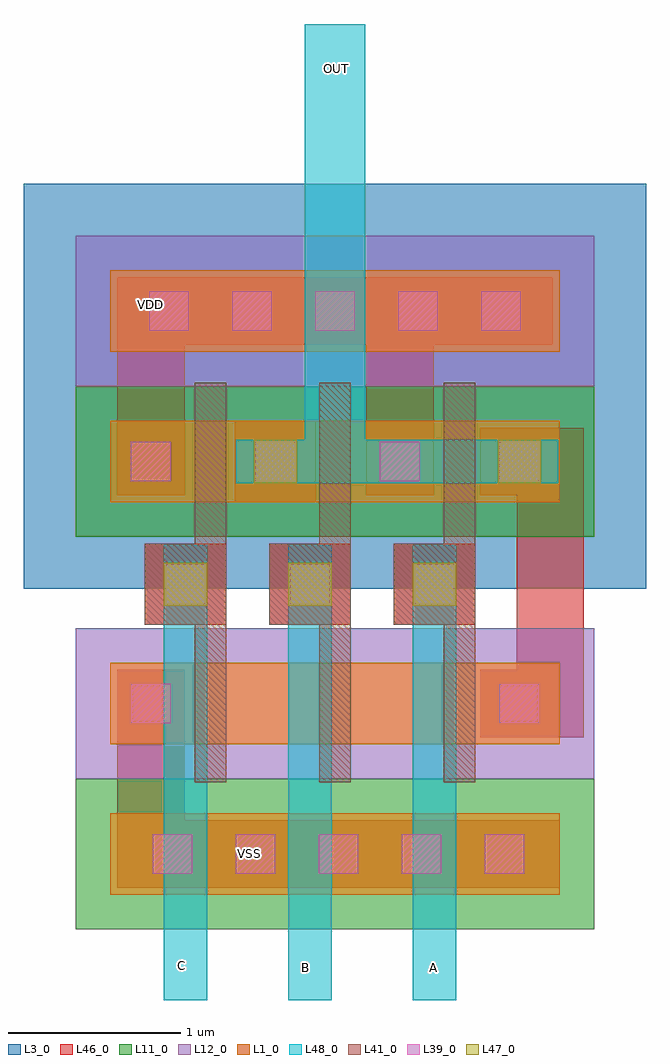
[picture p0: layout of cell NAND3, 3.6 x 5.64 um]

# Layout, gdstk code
import gdstk
lib = gdstk.Library(unit=1e-6, precision=1e-09)
def R(c, l, rs):  # rectangles x0, y0, x1, y1
    for r in rs: c.add(gdstk.rectangle(r[:2], r[2:], *l))
def A(c, l, x, y, w, h, nx, ny, dx, dy):  # array of equal rectangles
    R(c, l, [(x+i*dx, y+j*dy, x+i*dx+w, y+j*dy+h) for i in range(nx) for j in range(ny)])
L1_0 = (1, 0)
L3_0 = (3, 0)
L11_0 = (11, 0)
L12_0 = (12, 0)
L39_0 = (39, 0)
L41_0 = (41, 0)
L46_0 = (46, 0)
L47_0 = (47, 0)
L48_0 = (48, 0)

nand3 = lib.new_cell('NAND3')
R(nand3, L1_0, [(3.115,0.695,5.715,1.165), (3.115,1.565,5.715,2.035), (3.115,2.965,5.715,3.435), (3.115,3.835,5.715,4.305)])
R(nand3, L3_0, [(2.615,2.465,6.215,4.805)])
R(nand3, L11_0, [(2.915,0.495,5.915,1.365), (2.915,2.765,5.915,3.635)])
R(nand3, L12_0, [(2.915,1.365,5.915,2.235), (2.915,3.635,5.915,4.505)])
A(nand3, L39_0, 3.36, 0.815, 0.23, 0.23, 5, 1, 0.48, 0)
A(nand3, L39_0, 3.435, 2.375, 0.23, 0.23, 3, 1, 0.72, 0)
A(nand3, L39_0, 3.235, 3.085, 0.23, 0.23, 3, 1, 0.72, 0)
A(nand3, L39_0, 3.34, 3.955, 0.23, 0.23, 5, 1, 0.48, 0)
R(nand3, L39_0, [(3.235,1.685,3.465,1.915), (5.365,1.685,5.595,1.915), (5.365,3.085,5.595,3.315)])
A(nand3, L41_0, 3.605, 1.345, 0.18, 2.31, 3, 1, 0.72, 0)
A(nand3, L41_0, 3.315, 2.255, 0.47, 0.47, 3, 1, 0.72, 0)
A(nand3, L46_0, 3.315, 2.255, 0.47, 0.47, 3, 1, 0.72, 0)
R(nand3, L46_0, [(3.155,0.735,3.545,1.995), (3.155,0.735,5.715,1.125), (5.255,1.605,5.855,1.995), (5.465,1.605,5.855,3.395), (3.835,2.965,4.305,3.435), (3.155,3.005,3.545,4.265), (4.595,3.005,4.985,4.265), (5.255,3.005,5.855,3.395), (3.155,3.875,5.675,4.265)])
A(nand3, L47_0, 3.425, 2.365, 0.25, 0.25, 3, 1, 0.72, 0)
R(nand3, L47_0, [(3.945,3.075,4.195,3.325), (5.355,3.075,5.605,3.325)])
A(nand3, L48_0, 3.425, 0.085, 0.25, 2.63, 3, 1, 0.72, 0)
R(nand3, L48_0, [(3.845,3.075,5.705,3.325), (4.24,3.075,4.59,5.73)])
nand3.add(gdstk.Label('VSS', (3.92,0.935), layer=101, texttype=0))
nand3.add(gdstk.Label('VDD', (3.345,4.105), layer=101, texttype=0))
nand3.add(gdstk.Label('OUT', (4.425,5.47), layer=102, texttype=0))
nand3.add(gdstk.Label('A', (4.985,0.275), layer=102, texttype=0))
nand3.add(gdstk.Label('B', (4.245,0.275), layer=102, texttype=0))
nand3.add(gdstk.Label('C', (3.53,0.285), layer=102, texttype=0))

lib.write_gds('NAND3.gds')
